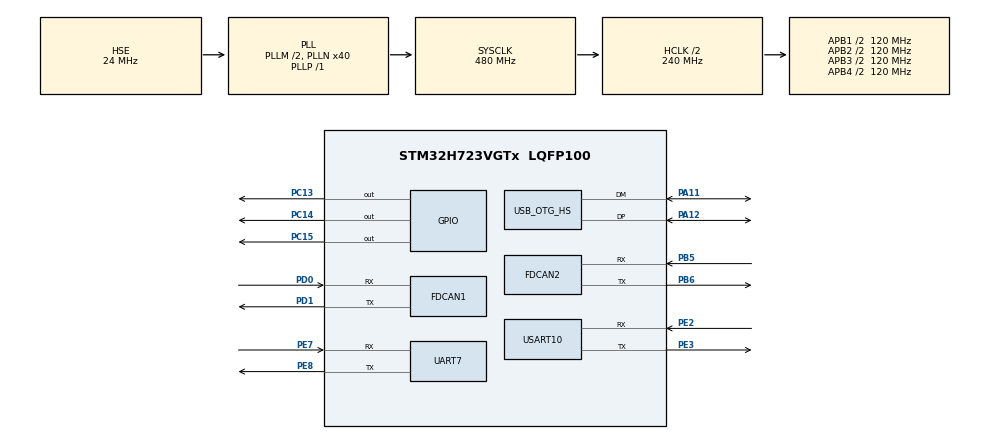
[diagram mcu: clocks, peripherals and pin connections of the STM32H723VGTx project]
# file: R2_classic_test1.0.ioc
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CORTEX_M7.default_mode_Activation=1
FDCAN1.AutoRetransmission=ENABLE
FDCAN1.CalculateBaudRateNominal=1000000
FDCAN1.CalculateTimeBitNominal=1000
FDCAN1.CalculateTimeQuantumNominal=12.5
FDCAN1.DataSyncJumpWidth=2
FDCAN1.DataTimeSeg1=13
FDCAN1.DataTimeSeg2=2
FDCAN1.ExtFiltersNbr=4
FDCAN1.FrameFormat=FDCAN_FRAME_FD_BRS
FDCAN1.NominalPrescaler=1
FDCAN1.NominalSyncJumpWidth=20
FDCAN1.NominalTimeSeg1=59
FDCAN1.NominalTimeSeg2=20
FDCAN1.ProtocolException=ENABLE
FDCAN1.RxBuffersNbr=2
FDCAN1.RxFifo0ElmtsNbr=10
FDCAN1.RxFifo1ElmtsNbr=10
FDCAN1.StdFiltersNbr=4
FDCAN1.TxBuffersNbr=10
FDCAN1.TxEventsNbr=10
FDCAN1.TxFifoQueueElmtsNbr=10
FDCAN2.CalculateBaudRateNominal=1000000
FDCAN2.CalculateTimeBitNominal=1000
FDCAN2.CalculateTimeQuantumNominal=12.5
FDCAN2.DataSyncJumpWidth=2
FDCAN2.DataTimeSeg1=13
FDCAN2.DataTimeSeg2=2
FDCAN2.ExtFiltersNbr=4
FDCAN2.NominalPrescaler=1
FDCAN2.NominalSyncJumpWidth=20
FDCAN2.NominalTimeSeg1=59
FDCAN2.NominalTimeSeg2=20
FDCAN2.RxBuffersNbr=2
FDCAN2.RxFifo0ElmtsNbr=10
FDCAN2.RxFifo1ElmtsNbr=10
FDCAN2.StdFiltersNbr=4
FDCAN2.TxBuffersNbr=10
FDCAN2.TxEventsNbr=10
FDCAN2.TxFifoQueueElmtsNbr=10
FREERTOS.Tasks01=Start_IMU_Task,2,2048,IMU_Task,As weak,NULL,Static,Start_IMU_TaskBuffer,Start_IMU_TaskControlBlock;Start_Control_T,1,2048,Control_Task,As weak,NULL,Static,Start_Control_TBuffer,Start_Control_TControlBlock;Start_CAN_Task,0,2048,CAN_Task,As weak,NULL,Static,Start_CAN_TaskBuffer,Start_CAN_TaskControlBlock
FREERTOS.configMINIMAL_STACK_SIZE=2048
Mcu.Family=STM32H7
Mcu.Name=STM32H723VGTx
Mcu.Package=LQFP100
NVIC.FDCAN1_IT0_IRQn=true\:5\:0\:false\:false\:true\:true\:true\:true\:true
NVIC.FDCAN1_IT1_IRQn=true\:5\:0\:false\:false\:true\:true\:true\:true\:true
NVIC.FDCAN2_IT0_IRQn=true\:5\:0\:false\:false\:true\:true\:true\:true\:true
NVIC.FDCAN2_IT1_IRQn=true\:5\:0\:false\:false\:true\:true\:true\:true\:true
NVIC.OTG_HS_IRQn=true\:5\:0\:false\:false\:true\:true\:true\:true\:true
NVIC.PriorityGroup=NVIC_PRIORITYGROUP_4
NVIC.TIM2_IRQn=true\:15\:0\:false\:false\:true\:false\:false\:true\:true
NVIC.TIM3_IRQn=true\:5\:0\:false\:false\:true\:true\:true\:true\:true
NVIC.TIM4_IRQn=true\:5\:0\:false\:false\:true\:true\:true\:true\:true
NVIC.TimeBase=TIM2_IRQn
NVIC.TimeBaseIP=TIM2
NVIC.UART7_IRQn=true\:5\:0\:false\:false\:true\:true\:true\:true\:true
NVIC.USART10_IRQn=true\:5\:0\:false\:false\:true\:true\:true\:true\:true
PA11.Mode=Device_Only_FS
PA11.Signal=USB_OTG_HS_DM
PA12.Mode=Device_Only_FS
PA12.Signal=USB_OTG_HS_DP
PA13(JTMS/SWDIO).Mode=Serial_Wire
PA13(JTMS/SWDIO).Signal=DEBUG_JTMS-SWDIO
PA14(JTCK/SWCLK).Mode=Serial_Wire
PA14(JTCK/SWCLK).Signal=DEBUG_JTCK-SWCLK
PB5.Mode=FDCAN_Activate
PB5.Signal=FDCAN2_RX
PB6.Mode=FDCAN_Activate
PB6.Signal=FDCAN2_TX
PC13.Signal=GPIO_Output
PC14-OSC32_IN.Signal=GPIO_Output
PC15-OSC32_OUT.Signal=GPIO_Output
PD0.Mode=FDCAN_Activate
PD0.Signal=FDCAN1_RX
PD1.Mode=FDCAN_Activate
PD1.Signal=FDCAN1_TX
PE2.Mode=Asynchronous
PE2.Signal=USART10_RX
PE3.Mode=Asynchronous
PE3.Signal=USART10_TX
PE7.Mode=Asynchronous
PE7.Signal=UART7_RX
PE8.Mode=Asynchronous
PE8.Signal=UART7_TX
PH0-OSC_IN.Mode=HSE-External-Oscillator
PH0-OSC_IN.Signal=RCC_OSC_IN
PH1-OSC_OUT.Mode=HSE-External-Oscillator
PH1-OSC_OUT.Signal=RCC_OSC_OUT
ProjectManager.HeapSize=0x200
ProjectManager.StackSize=0x400
ProjectManager.TargetToolchain=MDK-ARM V5.32
RCC.ADCFreq_Value=48375000
RCC.APB1Freq_Value=120000000
RCC.APB2Freq_Value=120000000
RCC.APB3Freq_Value=120000000
RCC.APB4Freq_Value=120000000
RCC.CortexFreq_Value=480000000
RCC.D1PPRE=RCC_APB3_DIV2
RCC.D2PPRE1=RCC_APB1_DIV2
RCC.D2PPRE2=RCC_APB2_DIV2
RCC.D3PPRE=RCC_APB4_DIV2
RCC.DIVM1=2
RCC.DIVM3=16
RCC.DIVN1=40
RCC.DIVN3=256
RCC.DIVP1=1
RCC.DIVQ1=6
RCC.DIVQ3=8
RCC.HCLKFreq_Value=240000000
RCC.HPRE=RCC_HCLK_DIV2
RCC.HSE_VALUE=24000000
RCC.PLL2FRACN=0
RCC.PLL3FRACN=0
RCC.PLLFRACN=0
RCC.PLLSourceVirtual=RCC_PLLSOURCE_HSE
RCC.SYSCLKFreq_VALUE=480000000
RCC.SYSCLKSource=RCC_SYSCLKSOURCE_PLLCLK
RCC.USBCLockSelection=RCC_USBCLKSOURCE_PLL3
RCC.USBFreq_Value=48000000
TIM3.Period=1000-1
TIM3.Prescaler=240-1
TIM4.Period=10000-1
TIM4.Prescaler=2400-1
USART10.VirtualMode=VM_ASYNC
USB_DEVICE.CLASS_NAME_HS=CDC
USB_DEVICE.VirtualMode=Cdc
USB_DEVICE.VirtualModeHS=Cdc_HS
USB_OTG_HS.VirtualMode-Device_Only_FS=Device_Only_FS
VP_FREERTOS_VS_CMSIS_V1.Mode=CMSIS_V1
VP_MEMORYMAP_VS_MEMORYMAP.Mode=CurAppReg
VP_SYS_VS_tim2.Mode=TIM2
VP_TIM3_VS_ClockSourceINT.Mode=Internal
VP_TIM4_VS_ClockSourceINT.Mode=Internal
VP_USB_DEVICE_VS_USB_DEVICE_CDC_HS.Mode=CDC_HS
board=custom

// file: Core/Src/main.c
/* USER CODE BEGIN Header */
/**
  ******************************************************************************
  * @file           : main.c
  * @brief          : Main program body
  ******************************************************************************
  * @attention
  *
  * Copyright (c) 2026 STMicroelectronics.
  * All rights reserved.
  *
  * This software is licensed under terms that can be found in the LICENSE file
  * in the root directory of this software component.
  * If no LICENSE file comes with this software, it is provided AS-IS.
  *
  ******************************************************************************
  */
/* USER CODE END Header */
#include "main.h"
#include "cmsis_os.h"
#include "fdcan.h"
#include "memorymap.h"
#include "tim.h"
#include "usart.h"
#include "usb_device.h"
#include "gpio.h"

/* USER CODE BEGIN Includes */
#include "include.h"
#include "dm_motor_ctrl.h"
#include "bsp_tick.h"
#include "quadruped_fsm.h"
#include "bsp_leg.h"

/* USER CODE END Includes */

/* USER CODE BEGIN PV */
extern QFSM_Handle_t g_qfsm;//״̬��ʵ��

/* USER CODE END PV */

void SystemClock_Config(void);
static void MPU_Config(void);
void MX_FREERTOS_Init(void);

int main(void)
                    {

  /* MPU Configuration--------------------------------------------------------*/
  MPU_Config();

  /* MCU Configuration--------------------------------------------------------*/

  /* Reset of all peripherals, Initializes the Flash interface and the Systick. */
  HAL_Init();

  /* Configure the system clock */
  SystemClock_Config();

  /* Initialize all configured peripherals */
  MX_GPIO_Init();
  MX_FDCAN1_Init();
  MX_FDCAN2_Init();
  MX_UART7_Init();
  MX_USART10_UART_Init();
  MX_TIM3_Init();
  MX_TIM4_Init();
  /* USER CODE BEGIN 2 */
  HAL_TIM_Base_Start_IT(&htim4); // ������100ms����
  /* USER CODE END 2 */

  /* Call init function for freertos objects (in cmsis_os2.c) */
  MX_FREERTOS_Init();

  /* Start scheduler */
  osKernelStart();

  /* We should never get here as control is now taken by the scheduler */

  /* Infinite loop */
  while (1)
  {

  }
}

void SystemClock_Config(void)
{
  RCC_OscInitTypeDef RCC_OscInitStruct = {0};
  RCC_ClkInitTypeDef RCC_ClkInitStruct = {0};

  /** Supply configuration update enable
  */
  HAL_PWREx_ConfigSupply(PWR_LDO_SUPPLY);

  /** Configure the main internal regulator output voltage
  */
  __HAL_PWR_VOLTAGESCALING_CONFIG(PWR_REGULATOR_VOLTAGE_SCALE0);

  while(!__HAL_PWR_GET_FLAG(PWR_FLAG_VOSRDY)) {}

  /** Initializes the RCC Oscillators according to the specified parameters
  * in the RCC_OscInitTypeDef structure.
  */
  RCC_OscInitStruct.OscillatorType = RCC_OSCILLATORTYPE_HSE;
  RCC_OscInitStruct.HSEState = RCC_HSE_ON;
  RCC_OscInitStruct.PLL.PLLState = RCC_PLL_ON;
  RCC_OscInitStruct.PLL.PLLSource = RCC_PLLSOURCE_HSE;
  RCC_OscInitStruct.PLL.PLLM = 2;
  RCC_OscInitStruct.PLL.PLLN = 40;
  RCC_OscInitStruct.PLL.PLLP = 1;
  RCC_OscInitStruct.PLL.PLLQ = 6;
  RCC_OscInitStruct.PLL.PLLR = 2;
  RCC_OscInitStruct.PLL.PLLRGE = RCC_PLL1VCIRANGE_3;
  RCC_OscInitStruct.PLL.PLLVCOSEL = RCC_PLL1VCOWIDE;
  RCC_OscInitStruct.PLL.PLLFRACN = 0;
  if (HAL_RCC_OscConfig(&RCC_OscInitStruct) != HAL_OK)
  {
    Error_Handler();
  }

  /** Initializes the CPU, AHB and APB buses clocks
  */
  RCC_ClkInitStruct.ClockType = RCC_CLOCKTYPE_HCLK|RCC_CLOCKTYPE_SYSCLK
                              |RCC_CLOCKTYPE_PCLK1|RCC_CLOCKTYPE_PCLK2
                              |RCC_CLOCKTYPE_D3PCLK1|RCC_CLOCKTYPE_D1PCLK1;
  RCC_ClkInitStruct.SYSCLKSource = RCC_SYSCLKSOURCE_PLLCLK;
  RCC_ClkInitStruct.SYSCLKDivider = RCC_SYSCLK_DIV1;
  RCC_ClkInitStruct.AHBCLKDivider = RCC_HCLK_DIV2;
  RCC_ClkInitStruct.APB3CLKDivider = RCC_APB3_DIV2;
  RCC_ClkInitStruct.APB1CLKDivider = RCC_APB1_DIV2;
  RCC_ClkInitStruct.APB2CLKDivider = RCC_APB2_DIV2;
  RCC_ClkInitStruct.APB4CLKDivider = RCC_APB4_DIV2;

  if (HAL_RCC_ClockConfig(&RCC_ClkInitStruct, FLASH_LATENCY_3) != HAL_OK)
  {
    Error_Handler();
  }
}

 /* MPU Configuration */

void MPU_Config(void)
{
  MPU_Region_InitTypeDef MPU_InitStruct = {0};

  /* Disables the MPU */
  HAL_MPU_Disable();

  /** Initializes and configures the Region and the memory to be protected
  */
  MPU_InitStruct.Enable = MPU_REGION_ENABLE;
  MPU_InitStruct.Number = MPU_REGION_NUMBER0;
  MPU_InitStruct.BaseAddress = 0x0;
  MPU_InitStruct.Size = MPU_REGION_SIZE_4GB;
  MPU_InitStruct.SubRegionDisable = 0x87;
  MPU_InitStruct.TypeExtField = MPU_TEX_LEVEL0;
  MPU_InitStruct.AccessPermission = MPU_REGION_NO_ACCESS;
  MPU_InitStruct.DisableExec = MPU_INSTRUCTION_ACCESS_DISABLE;
  MPU_InitStruct.IsShareable = MPU_ACCESS_SHAREABLE;
  MPU_InitStruct.IsCacheable = MPU_ACCESS_NOT_CACHEABLE;
  MPU_InitStruct.IsBufferable = MPU_ACCESS_NOT_BUFFERABLE;

  HAL_MPU_ConfigRegion(&MPU_InitStruct);
  /* Enables the MPU */
  HAL_MPU_Enable(MPU_PRIVILEGED_DEFAULT);

}

void HAL_TIM_PeriodElapsedCallback(TIM_HandleTypeDef *htim)
{
  if (htim->Instance == TIM2)
  {
    HAL_IncTick();
  }
  /* USER CODE BEGIN Callback 1 */
	if (htim->Instance == TIM3) {

//		read_all_motor_data(&motor[Motor1]);
//		read_all_motor_data(&motor[Motor2]);
//		read_all_motor_data(&motor[Motor3]);
//		read_all_motor_data(&motor[Motor4]);
//		read_all_motor_data(&motor[Motor5]);
//		read_all_motor_data(&motor[Motor6]);
    motor[Motor1].tmp.read_flag = 0;
    motor[Motor2].tmp.read_flag = 0;
    motor[Motor3].tmp.read_flag = 0;
    motor[Motor4].tmp.read_flag = 0;
    motor[Motor5].tmp.read_flag = 0;
    motor[Motor6].tmp.read_flag = 0;

		if(motor[Motor1].tmp.read_flag == 0 )
			dm_motor_ctrl_send(&hfdcan1, &motor[Motor1]);

		if(motor[Motor2].tmp.read_flag == 0 )
			dm_motor_ctrl_send(&hfdcan1, &motor[Motor2]);

		if(motor[Motor3].tmp.read_flag == 0 )
			dm_motor_ctrl_send(&hfdcan1, &motor[Motor3]);

		if(motor[Motor4].tmp.read_flag == 0 )
			dm_motor_ctrl_send(&hfdcan1, &motor[Motor4]);

		if(motor[Motor5].tmp.read_flag == 0 )
			dm_motor_ctrl_send(&hfdcan1, &motor[Motor5]);

		if(motor[Motor6].tmp.read_flag == 0 )
			dm_motor_ctrl_send(&hfdcan1, &motor[Motor6]);
	}
  if (htim->Instance == TIM4)
  {

  }
  /* USER CODE END Callback 1 */
}

void Error_Handler(void)
{
  __disable_irq();
  while (1)
  {
  }
}

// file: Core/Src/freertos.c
/* USER CODE BEGIN Header */
/**
  ******************************************************************************
  * File Name          : freertos.c
  * Description        : Code for freertos applications
  ******************************************************************************
  * @attention
  *
  * Copyright (c) 2026 STMicroelectronics.
  * All rights reserved.
  *
  * This software is licensed under terms that can be found in the LICENSE file
  * in the root directory of this software component.
  * If no LICENSE file comes with this software, it is provided AS-IS.
  *
  ******************************************************************************
  */
/* USER CODE END Header */

#include "FreeRTOS.h"
#include "task.h"
#include "main.h"
#include "cmsis_os.h"

osThreadId Start_IMU_TaskHandle;
uint32_t Start_IMU_TaskBuffer[ 2048 ];
osStaticThreadDef_t Start_IMU_TaskControlBlock;
osThreadId Start_Control_THandle;
uint32_t Start_Control_TBuffer[ 2048 ];
osStaticThreadDef_t Start_Control_TControlBlock;
osThreadId Start_CAN_TaskHandle;
uint32_t Start_CAN_TaskBuffer[ 2048 ];
osStaticThreadDef_t Start_CAN_TaskControlBlock;

void IMU_Task(void const * argument);
void Control_Task(void const * argument);
void CAN_Task(void const * argument);

extern void MX_USB_DEVICE_Init(void);
void MX_FREERTOS_Init(void); /* (MISRA C 2004 rule 8.1) */

/* GetIdleTaskMemory prototype (linked to static allocation support) */
void vApplicationGetIdleTaskMemory( StaticTask_t **ppxIdleTaskTCBBuffer, StackType_t **ppxIdleTaskStackBuffer, uint32_t *pulIdleTaskStackSize );

/* USER CODE BEGIN GET_IDLE_TASK_MEMORY */
static StaticTask_t xIdleTaskTCBBuffer;
static StackType_t xIdleStack[configMINIMAL_STACK_SIZE];

void vApplicationGetIdleTaskMemory( StaticTask_t **ppxIdleTaskTCBBuffer, StackType_t **ppxIdleTaskStackBuffer, uint32_t *pulIdleTaskStackSize )
{
  *ppxIdleTaskTCBBuffer = &xIdleTaskTCBBuffer;
  *ppxIdleTaskStackBuffer = &xIdleStack[0];
  *pulIdleTaskStackSize = configMINIMAL_STACK_SIZE;
  /* place for user code */
}
/* USER CODE END GET_IDLE_TASK_MEMORY */

void MX_FREERTOS_Init(void) {

  /* Create the thread(s) */
  /* definition and creation of Start_IMU_Task */
  osThreadStaticDef(Start_IMU_Task, IMU_Task, osPriorityHigh, 0, 2048, Start_IMU_TaskBuffer, &Start_IMU_TaskControlBlock);
  Start_IMU_TaskHandle = osThreadCreate(osThread(Start_IMU_Task), NULL);

  /* definition and creation of Start_Control_T */
  osThreadStaticDef(Start_Control_T, Control_Task, osPriorityAboveNormal, 0, 2048, Start_Control_TBuffer, &Start_Control_TControlBlock);
  Start_Control_THandle = osThreadCreate(osThread(Start_Control_T), NULL);

  /* definition and creation of Start_CAN_Task */
  osThreadStaticDef(Start_CAN_Task, CAN_Task, osPriorityNormal, 0, 2048, Start_CAN_TaskBuffer, &Start_CAN_TaskControlBlock);
  Start_CAN_TaskHandle = osThreadCreate(osThread(Start_CAN_Task), NULL);

}

__weak void IMU_Task(void const * argument)
{
  /* init code for USB_DEVICE */
  MX_USB_DEVICE_Init();
  for(;;)
  {
    osDelay(1);
  }
}

__weak void Control_Task(void const * argument)
{
  for(;;)
  {
    osDelay(1);
  }
}

__weak void CAN_Task(void const * argument)
{
  for(;;)
  {
    osDelay(1);
  }
}
